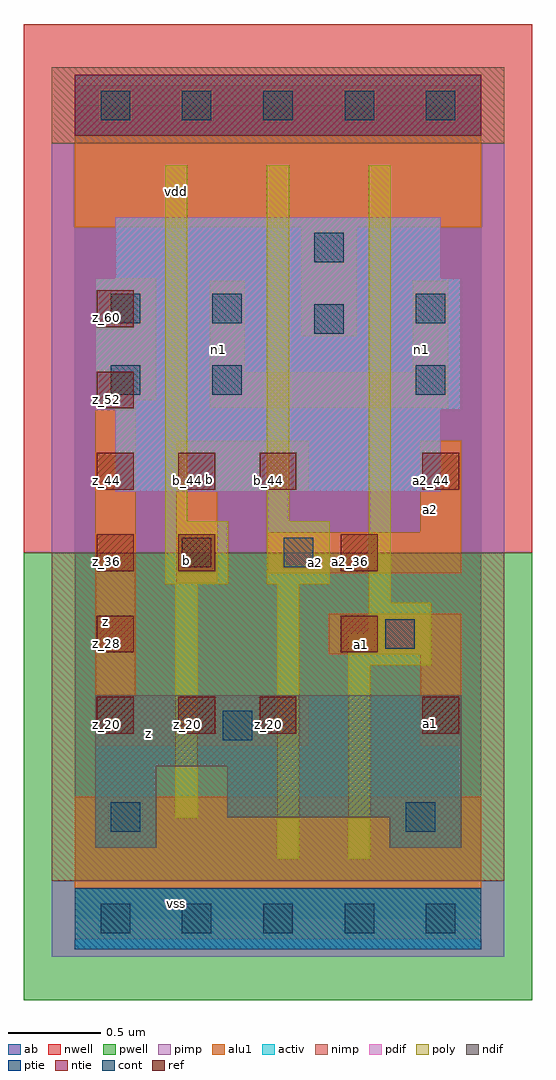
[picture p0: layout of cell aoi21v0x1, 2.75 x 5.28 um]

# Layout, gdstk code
import gdstk
lib = gdstk.Library(unit=1e-6, precision=2.5e-09)
def R(c, l, rs):  # rectangles x0, y0, x1, y1
    for r in rs: c.add(gdstk.rectangle(r[:2], r[2:], *l))
def A(c, l, x, y, w, h, nx, ny, dx, dy):  # array of equal rectangles
    R(c, l, [(x+i*dx, y+j*dy, x+i*dx+w, y+j*dy+h) for i in range(nx) for j in range(ny)])
ndif = (3, 0)
pdif = (4, 0)
ntie = (5, 0)
ptie = (6, 0)
ref = (24, 0)
cont = (25, 0)
pwell = (41, 0)
nwell = (42, 0)
activ = (43, 0)
pimp = (44, 0)
nimp = (45, 0)
poly = (46, 0)
alu1 = (49, 0)
ab = (63, 0)

aoi21v0x1 = lib.new_cell('aoi21v0x1')
R(aoi21v0x1, ndif, [(0.11,0.385,0.44,0.825), (1.705,0.385,2.09,0.55), (0.825,0.55,2.09,0.825), (0.11,0.825,2.09,1.21)])
R(aoi21v0x1, pdif, [(0.22,2.31,1.98,2.75), (0.11,2.75,2.09,3.465), (0.22,3.465,1.98,3.795)])
R(aoi21v0x1, ntie, [(0,4.235,2.2,4.565)])
R(aoi21v0x1, ptie, [(0,-0.165,2.2,0.165)])
A(aoi21v0x1, ref, 0.12, 1, 0.2, 0.2, 3, 2, 0.44, 1.32)
R(aoi21v0x1, ref, [(1.88,1,2.08,1.2), (0.12,1.44,0.32,1.64), (1.44,1.44,1.64,1.64), (0.12,1.88,0.32,2.08), (0.56,1.88,0.76,2.08), (1.44,1.88,1.64,2.08), (1.88,2.32,2.08,2.52), (0.12,2.76,0.32,2.96), (0.12,3.2,0.32,3.4)])
A(aoi21v0x1, cont, 0.14, -0.08, 0.16, 0.16, 5, 2, 0.44, 4.4)
R(aoi21v0x1, cont, [(0.195,0.47,0.355,0.63), (1.79,0.47,1.95,0.63), (0.8,0.965,0.96,1.125), (1.68,1.46,1.84,1.62), (0.58,1.9,0.74,2.06), (1.13,1.9,1.29,2.06), (0.195,2.835,0.355,2.995), (0.745,2.835,0.905,2.995), (1.845,2.835,2.005,2.995), (1.295,3.165,1.455,3.325), (0.195,3.22,0.355,3.38), (0.745,3.22,0.905,3.38), (1.845,3.22,2.005,3.38), (1.295,3.55,1.455,3.71)])
R(aoi21v0x1, pwell, [(-0.275,-0.44,2.475,1.98)])
R(aoi21v0x1, nwell, [(-0.275,1.98,2.475,4.84)])
R(aoi21v0x1, activ, [(0,-0.165,2.2,0.165), (0.11,0.385,0.44,0.825), (1.705,0.385,2.09,0.55), (0.825,0.55,2.09,0.825), (0.11,0.825,2.09,1.21), (0.22,2.31,1.98,2.75), (0.11,2.75,2.09,3.465), (0.22,3.465,1.98,3.795), (0,4.235,2.2,4.565)])
R(aoi21v0x1, pimp, [(-0.125,-0.205,2.325,0.205), (-0.125,1.98,2.325,4.195)])
R(aoi21v0x1, nimp, [(-0.125,0.205,2.325,1.98), (-0.125,4.195,2.325,4.605)])
R(aoi21v0x1, poly, [(1.095,0.325,1.215,1.81), (1.48,0.325,1.6,1.37), (0.545,0.545,0.665,1.81), (1.48,1.37,1.93,1.545), (1.59,1.545,1.93,1.71), (1.59,1.71,1.71,4.075), (0.49,1.81,0.83,2.15), (1.04,1.81,1.38,2.15), (0.49,2.15,0.61,4.075), (1.04,2.15,1.16,4.075)])
R(aoi21v0x1, alu1, [(0,-0.11,2.2,0.66), (0.11,0.935,1.265,1.21), (1.87,0.935,2.09,1.43), (0.11,1.21,0.33,2.805), (1.375,1.43,2.09,1.65), (0.55,1.815,0.77,2.31), (1.045,1.87,2.09,2.09), (1.87,2.09,2.09,2.585), (0.55,2.31,1.265,2.585), (0.73,2.765,2.02,2.955), (0.11,2.805,0.44,3.465), (0.73,2.955,0.92,3.45), (1.83,2.955,2.02,3.45), (1.225,3.15,1.525,3.74), (0,3.74,2.2,4.51)])
R(aoi21v0x1, ab, [(0,0,2.2,4.4)])
aoi21v0x1.add(gdstk.Label('vss', (0.55,0.0825), layer=49, texttype=0))
aoi21v0x1.add(gdstk.Label('a1', (1.925,1.0575), layer=49, texttype=0))
aoi21v0x1.add(gdstk.Label('z', (0.3975,1.0025), layer=49, texttype=0))
aoi21v0x1.add(gdstk.Label('a1', (1.5525,1.485), layer=49, texttype=0))
aoi21v0x1.add(gdstk.Label('a2', (1.305,1.925), layer=49, texttype=0))
aoi21v0x1.add(gdstk.Label('a2', (1.925,2.2125), layer=49, texttype=0))
aoi21v0x1.add(gdstk.Label('b', (0.605,1.9375), layer=49, texttype=0))
aoi21v0x1.add(gdstk.Label('b', (0.7275,2.3775), layer=49, texttype=0))
aoi21v0x1.add(gdstk.Label('z', (0.165,1.6075), layer=49, texttype=0))
aoi21v0x1.add(gdstk.Label('n1', (1.8775,3.0775), layer=49, texttype=0))
aoi21v0x1.add(gdstk.Label('n1', (0.7775,3.0775), layer=49, texttype=0))
aoi21v0x1.add(gdstk.Label('vdd', (0.55,3.9325), layer=49, texttype=0))
aoi21v0x1.add(gdstk.Label('z_60', (0.17,3.25), layer=24, texttype=0))
aoi21v0x1.add(gdstk.Label('z_52', (0.17,2.81), layer=24, texttype=0))
aoi21v0x1.add(gdstk.Label('z_44', (0.17,2.37), layer=24, texttype=0))
aoi21v0x1.add(gdstk.Label('z_36', (0.17,1.93), layer=24, texttype=0))
aoi21v0x1.add(gdstk.Label('z_28', (0.17,1.49), layer=24, texttype=0))
aoi21v0x1.add(gdstk.Label('z_20', (0.17,1.05), layer=24, texttype=0))
aoi21v0x1.add(gdstk.Label('a2_44', (1.93,2.37), layer=24, texttype=0))
aoi21v0x1.add(gdstk.Label('a1_20', (1.93,1.05), layer=24, texttype=0))
aoi21v0x1.add(gdstk.Label('a2_36', (1.49,1.93), layer=24, texttype=0))
aoi21v0x1.add(gdstk.Label('a1_28', (1.49,1.49), layer=24, texttype=0))
aoi21v0x1.add(gdstk.Label('b_44', (1.05,2.37), layer=24, texttype=0))
aoi21v0x1.add(gdstk.Label('z_20', (1.05,1.05), layer=24, texttype=0))
aoi21v0x1.add(gdstk.Label('b_44', (0.61,2.37), layer=24, texttype=0))
aoi21v0x1.add(gdstk.Label('b_36', (0.61,1.93), layer=24, texttype=0))
aoi21v0x1.add(gdstk.Label('z_20', (0.61,1.05), layer=24, texttype=0))

lib.write_gds('aoi21v0x1.gds')
